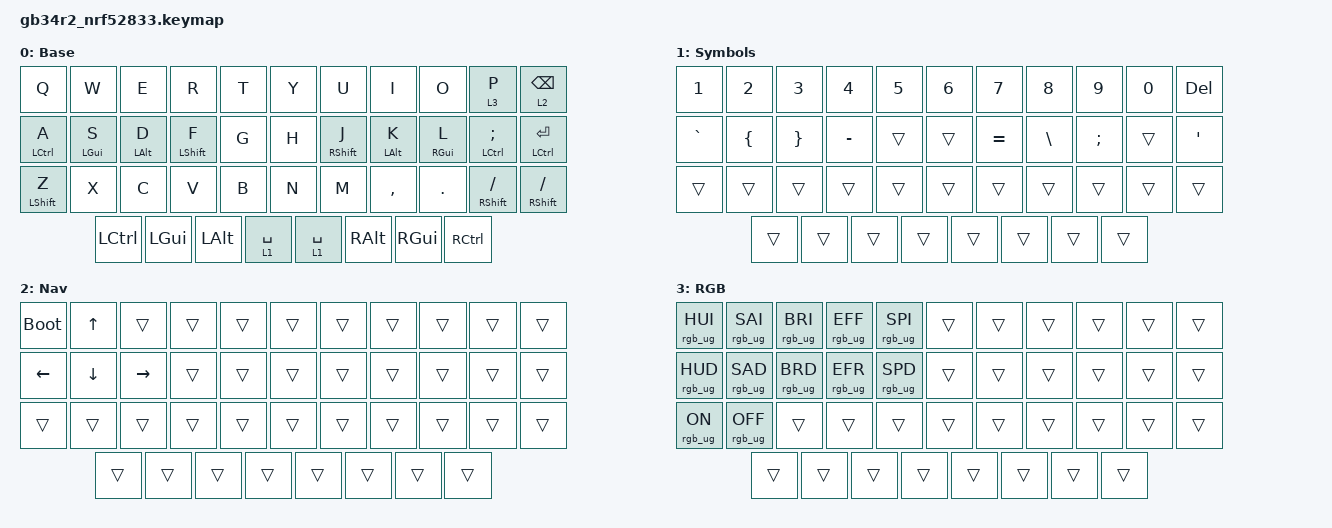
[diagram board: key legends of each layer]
/*
* Copyright (c) 2025 The ZMK Contributors
*
* SPDX-License-Identifier: MIT
*/

#include <behaviors.dtsi>
#include <dt-bindings/zmk/keys.h>
#include <dt-bindings/zmk/rgb.h>

/ {
    combos {
        compatible = "zmk,combos";

        combo_boot {
            key-positions = <0 10>;
            bindings = <&bootloader>;
        };

        combo_unlock {
            key-positions = <0 11>;
            bindings = <&studio_unlock>;
        };
    };

    keymap {
        compatible = "zmk,keymap";

        default_layer {
            display-name = "Base";
            bindings = <
&kp Q        &kp W       &kp E       &kp R        &kp T        &kp Y        &kp U        &kp I       &kp O       &lt 3 P         &lt 2 BSPC
&mt LCTRL A  &mt LGUI S  &mt LALT D  &mt LSHFT F  &kp G        &kp H        &mt RSHFT J  &mt LALT K  &mt RGUI L  &mt LCTRL SEMI  &mt LCTRL ENTER
&mt LSHFT Z  &kp X       &kp C       &kp V        &kp B        &kp N        &kp M        &kp COMMA   &kp DOT     &mt RSHFT FSLH  &mt RSHFT FSLH
             &kp LCTRL   &kp LGUI    &kp LALT     &lt 1 SPACE  &lt 1 SPACE  &kp RALT     &kp RGUI    &kp RCTRL
            >;
        };

        symbol_layer {
            display-name = "Symbols";
            bindings = <
&kp N1     &kp N2    &kp N3    &kp N4     &kp N5  &kp N6  &kp N7     &kp N8    &kp N9    &kp N0  &kp DEL
&kp GRAVE  &kp LBRC  &kp RBRC  &kp MINUS  &trans  &trans  &kp EQUAL  &kp BSLH  &kp SEMI  &trans  &kp SQT
&trans     &trans    &trans    &trans     &trans  &trans  &trans     &trans    &trans    &trans  &trans
           &trans    &trans    &trans     &trans  &trans  &trans     &trans    &trans
            >;
        };

        nav_layer {
            display-name = "Nav";
            bindings = <
&bootloader  &kp UP    &trans     &trans  &trans  &trans  &trans  &trans  &trans  &trans  &trans
&kp LEFT     &kp DOWN  &kp RIGHT  &trans  &trans  &trans  &trans  &trans  &trans  &trans  &trans
&trans       &trans    &trans     &trans  &trans  &trans  &trans  &trans  &trans  &trans  &trans
             &trans    &trans     &trans  &trans  &trans  &trans  &trans  &trans
            >;
        };

        rgb_layer {
            display-name = "RGB";
            bindings = <
&rgb_ug RGB_HUI  &rgb_ug RGB_SAI  &rgb_ug RGB_BRI  &rgb_ug RGB_EFF  &rgb_ug RGB_SPI  &trans  &trans  &trans  &trans  &trans  &trans
&rgb_ug RGB_HUD  &rgb_ug RGB_SAD  &rgb_ug RGB_BRD  &rgb_ug RGB_EFR  &rgb_ug RGB_SPD  &trans  &trans  &trans  &trans  &trans  &trans
&rgb_ug RGB_ON   &rgb_ug RGB_OFF  &trans           &trans           &trans           &trans  &trans  &trans  &trans  &trans  &trans
                 &trans           &trans           &trans           &trans           &trans  &trans  &trans  &trans
            >;
        };
    };
};
